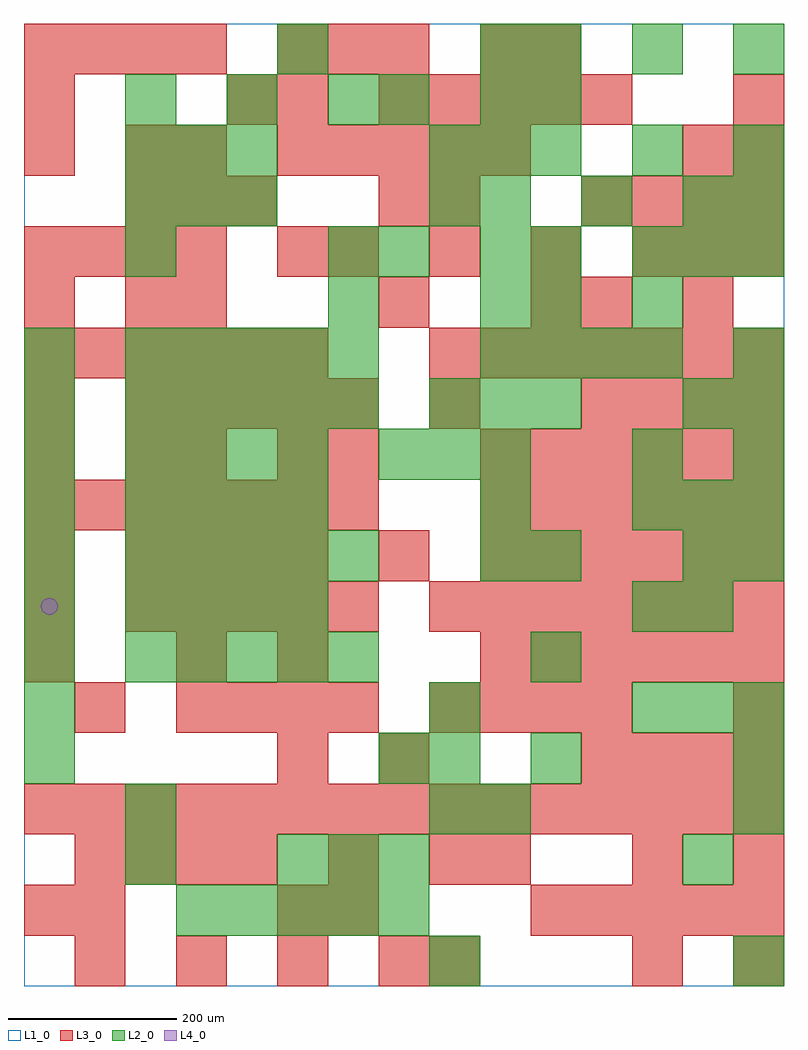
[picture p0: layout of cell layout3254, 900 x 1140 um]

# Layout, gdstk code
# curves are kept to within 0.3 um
import gdstk
lib = gdstk.Library(unit=1e-6, precision=1e-09)
def R(c, l, rs):  # rectangles x0, y0, x1, y1
    for r in rs: c.add(gdstk.rectangle(r[:2], r[2:], *l))
def A(c, l, x, y, w, h, nx, ny, dx, dy):  # array of equal rectangles
    R(c, l, [(x+i*dx, y+j*dy, x+i*dx+w, y+j*dy+h) for i in range(nx) for j in range(ny)])
def P(c, l, *ps):  # polygons
    for p in ps: c.add(gdstk.Polygon(p, *l))
L1_0 = (1, 0)
L2_0 = (2, 0)
L3_0 = (3, 0)
L4_0 = (4, 0)

layout3254 = lib.new_cell('layout3254')
R(layout3254, L1_0, [(0,0,900,1140)])
A(layout3254, L2_0, 180, 60, 60, 60, 5, 1, 60, 0)
A(layout3254, L2_0, 300, 120, 60, 60, 3, 1, 60, 0)
A(layout3254, L2_0, 480, 180, 60, 60, 1, 3, 0, 60)
A(layout3254, L2_0, 0, 240, 60, 60, 1, 9, 0, 60)
A(layout3254, L2_0, 600, 240, 60, 60, 1, 3, 0, 120)
A(layout3254, L2_0, 720, 300, 60, 60, 3, 2, 60, 240)
A(layout3254, L2_0, 120, 360, 60, 60, 5, 2, 60, 120)
A(layout3254, L2_0, 120, 420, 60, 60, 4, 2, 60, 120)
A(layout3254, L2_0, 720, 420, 60, 60, 1, 4, 0, 180)
A(layout3254, L2_0, 120, 600, 60, 60, 4, 1, 60, 0)
A(layout3254, L2_0, 420, 600, 60, 60, 3, 1, 60, 0)
A(layout3254, L2_0, 840, 600, 60, 60, 1, 3, 0, 60)
A(layout3254, L2_0, 120, 660, 60, 60, 5, 2, 60, 60)
A(layout3254, L2_0, 480, 660, 60, 60, 3, 2, 60, 300)
A(layout3254, L2_0, 540, 720, 60, 60, 4, 1, 60, 0)
A(layout3254, L2_0, 720, 840, 60, 60, 3, 1, 60, 0)
A(layout3254, L2_0, 120, 900, 60, 60, 3, 2, 60, 60)
A(layout3254, L2_0, 540, 900, 60, 60, 3, 1, 120, 0)
A(layout3254, L2_0, 120, 1020, 60, 60, 3, 1, 120, 0)
A(layout3254, L2_0, 600, 1080, 60, 60, 3, 1, 120, 0)
R(layout3254, L2_0, [(480,0,540,60), (840,0,900,60), (120,120,180,180), (780,120,840,180), (120,180,180,240), (540,180,600,240), (840,180,900,240), (420,240,480,300), (840,240,900,300), (780,420,840,480), (540,480,600,540), (780,480,840,540), (840,480,900,540), (540,540,600,600), (780,660,840,720), (360,780,420,840), (540,780,600,840), (600,780,660,840), (120,840,180,900), (360,840,420,900), (420,840,480,900), (540,840,600,900), (600,840,660,900), (480,900,540,960), (840,900,900,960), (840,960,900,1020), (420,1020,480,1080), (540,1020,600,1080), (600,1020,660,1080), (300,1080,360,1140), (540,1080,600,1140)])
A(layout3254, L3_0, 60, 0, 60, 60, 4, 1, 120, 0)
A(layout3254, L3_0, 600, 60, 60, 60, 5, 1, 60, 0)
A(layout3254, L3_0, 60, 120, 60, 60, 4, 1, 60, 0)
A(layout3254, L3_0, 0, 180, 60, 60, 15, 1, 60, 0)
A(layout3254, L3_0, 660, 240, 60, 60, 4, 2, 60, 420)
A(layout3254, L3_0, 180, 300, 60, 60, 4, 1, 60, 0)
A(layout3254, L3_0, 480, 300, 60, 60, 4, 1, 60, 0)
A(layout3254, L3_0, 0, 360, 60, 60, 1, 3, 0, 60)
A(layout3254, L3_0, 300, 360, 60, 60, 1, 3, 0, 240)
A(layout3254, L3_0, 540, 360, 60, 60, 6, 2, 60, 120)
A(layout3254, L3_0, 120, 420, 60, 60, 5, 2, 60, 240)
A(layout3254, L3_0, 480, 420, 60, 60, 7, 2, 60, 300)
A(layout3254, L3_0, 120, 480, 60, 60, 4, 1, 60, 0)
A(layout3254, L3_0, 0, 540, 60, 60, 7, 1, 60, 0)
A(layout3254, L3_0, 540, 540, 60, 60, 6, 2, 60, 60)
A(layout3254, L3_0, 120, 600, 60, 60, 1, 3, 0, 180)
A(layout3254, L3_0, 180, 600, 60, 60, 1, 3, 0, 180)
A(layout3254, L3_0, 0, 720, 60, 60, 6, 1, 60, 0)
A(layout3254, L3_0, 0, 840, 60, 60, 4, 2, 60, 240)
A(layout3254, L3_0, 360, 840, 60, 60, 4, 1, 120, 0)
A(layout3254, L3_0, 120, 900, 60, 60, 3, 1, 60, 0)
A(layout3254, L3_0, 660, 900, 60, 60, 4, 1, 60, 0)
A(layout3254, L3_0, 300, 960, 60, 60, 5, 1, 60, 0)
A(layout3254, L3_0, 420, 1020, 60, 60, 5, 1, 60, 0)
A(layout3254, L3_0, 300, 1080, 60, 60, 3, 1, 60, 0)
R(layout3254, L3_0, [(480,0,540,60), (720,0,780,60), (840,0,900,60), (0,60,60,120), (60,60,120,120), (300,60,360,120), (360,60,420,120), (360,120,420,180), (480,120,540,180), (540,120,600,180), (720,120,780,180), (840,120,900,180), (300,240,360,300), (420,240,480,300), (60,300,120,360), (840,300,900,360), (180,360,240,420), (420,480,480,540), (0,600,60,660), (360,600,420,660), (0,660,60,720), (480,660,540,720), (0,780,60,840), (420,780,480,840), (600,780,660,840), (660,780,720,840), (780,780,840,840), (780,840,840,900), (840,840,900,900), (420,900,480,960), (480,900,540,960), (0,960,60,1020), (780,960,840,1020), (840,960,900,1020), (0,1020,60,1080), (240,1020,300,1080), (300,1020,360,1080), (840,1020,900,1080), (540,1080,600,1140), (600,1080,660,1140)])
P(layout3254, L4_0, [(40,450),(39.239,453.827),(37.071,457.071),(33.827,459.239),(30,460),(26.173,459.239),(22.929,457.071),(20.761,453.827),(20,450),(20.761,446.173),(22.929,442.929),(26.173,440.761),(30,440),(33.827,440.761),(37.071,442.929),(39.239,446.173)])

lib.write_gds('layout3254.gds')
